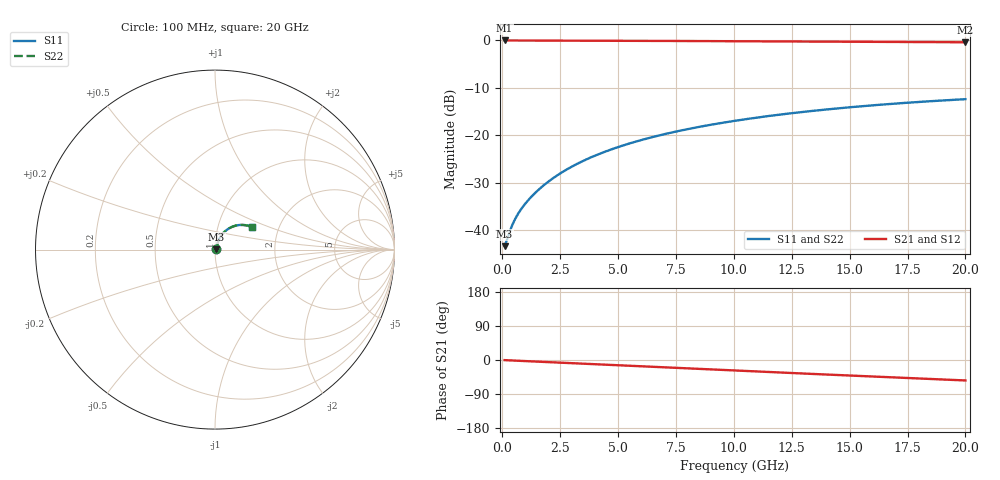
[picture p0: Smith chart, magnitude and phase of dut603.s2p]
! Touchstone file exported from HFSS 2026.1.0
!  File:  C:/ffzhzh/LocalFiles/Ansys_Project_Files/temp_train_TMRDL_603_1783008668_53980.aedt
!  Generated:  12:12:25 AM Jul  3, 2026
!  Design:  TMRDL
!  Project:  temp_train_TMRDL_603_1783008668_53980
! Variables:
!  h_bsmrdl = 2um
!  h_ox = 20um
!  h_rdl = 5um
!  h_sub = 80um
!  h_tmrdl = 2.29um
!  h_tsv = 80um
!  h_via = 3um
!  l_bsmrdl = 300um
!  l_sub = 1323.67um
!  l_tmrdl = 923.67um
!  m_sub = 200um
!  pitch = 31.75um
!  r_tsv = 6um
!  s_tmrdl = 10um
!  w_bsmrdl = 18um
!  w_sub = 500um
!  w_tmrdl = 22.93um
!  x_tsv_center1 = 935.135um
!  x_tsv_center2 = 1253.135um
!  x_tsv_center3 = 2199.735um
!  x_tsv_center4 = 2517.735um
!  x_tsv_center5 = 3464.335um
!  x_tsv_center6 = 3782.335um
# GHz S MA R 50.000000
! Terminal data exported
! Port[1] = TM_RDL1_1_T1
! Port[2] = TM_RDL1_1_T2
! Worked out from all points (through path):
!   200 points, 100 MHz to 20 GHz, reference 50 ohm
!   highest |S21| = -0.06 dB at 100 MHz (marker M1); lowest = -0.4 dB at 20 GHz (marker M2)
!   group delay of S21, straight-line fit = 7.49 ps
!   lowest |S11| = -43.3 dB at 100 MHz (marker M3), VSWR 1.01, Z = 50.7 + j0.214 ohm
!   |S11| at or under -10 dB: start of sweep to end of sweep
!   |S22| runs from -43.3 to -12.4 dB; largest |S21 - S12| = 2.1e-15
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0.1  0.006833 18.0  0.9935 -0.3  0.9935 -0.3  0.006833 18.0
! Gamma 0 0 0 0
! Port Impedance 50 0 50 0
0.4  0.01092 44.8  0.9924 -1.2  0.9924 -1.2  0.01092 44.8
0.5  0.0124 48.4  0.992 -1.5  0.992 -1.5  0.0124 48.4
0.6  0.01383 51.1  0.9916 -1.8  0.9916 -1.8  0.01383 51.1
0.7  0.01522 53.2  0.9913 -2.1  0.9913 -2.1  0.01522 53.2
0.9  0.0179 56.7  0.9908 -2.6  0.9908 -2.6  0.0179 56.7
1.2  0.02187 60.5  0.9902 -3.5  0.9902 -3.5  0.02187 60.5
1.4  0.02454 62.4  0.99 -4.0  0.99 -4.0  0.02454 62.4
1.7  0.0286 64.6  0.9896 -4.8  0.9896 -4.8  0.02861 64.6
2.2  0.03552 66.9  0.9891 -6.2  0.9891 -6.2  0.03553 66.9
2.8  0.04398 68.2  0.9885 -7.9  0.9885 -7.9  0.04399 68.2
3.5  0.05394 68.6  0.9877 -9.8  0.9877 -9.8  0.05395 68.6
4.2  0.06389 68.2  0.9869 -11.8  0.9869 -11.8  0.06391 68.2
5  0.0752 67.3  0.9857 -14.0  0.9857 -14.0  0.07521 67.2
5.9  0.08776 65.8  0.9842 -16.5  0.9842 -16.5  0.08777 65.7
6.8  0.1001 64.0  0.9825 -18.9  0.9825 -18.9  0.1001 63.9
8.4  0.1213 60.4  0.9792 -23.3  0.9792 -23.3  0.1213 60.3
10.1  0.1427 56.4  0.9753 -27.9  0.9753 -27.9  0.1428 56.3
11.7  0.1618 52.5  0.9714 -32.2  0.9714 -32.2  0.1618 52.3
13.4  0.1806 48.3  0.9671 -36.8  0.9671 -36.8  0.1807 48.1
16.7  0.2131 40.0  0.9587 -45.4  0.9587 -45.4  0.2132 39.8
20  0.2398 31.9  0.9511 -54.0  0.9511 -54.0  0.2399 31.6
